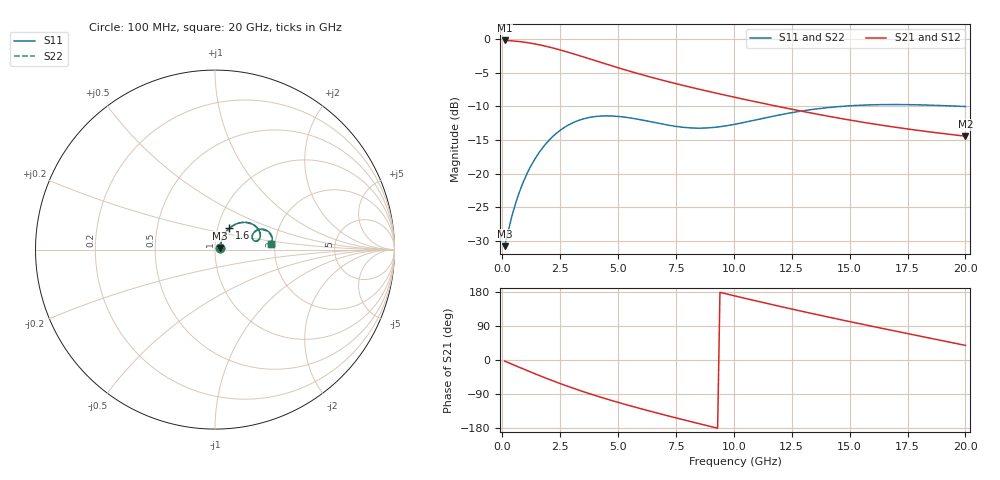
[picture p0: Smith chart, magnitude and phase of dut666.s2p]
! Touchstone file exported from HFSS 2024.1.0
!  File:  C:/UserFiles/LocalFiles/RDL_TSV_Batchsim/temp_RDL_TSV_666_1779812955.aedt
!  Generated:  12:48:54 AM May 27, 2026
!  Design:  RDL_TSV
!  Project:  temp_RDL_TSV_666_1779812955
!  Setup:  Setup1
!  Solution:  Sweep
! Variables:
!  dtsv = 7.15um
!  hbump = 3um
!  htsv = 94.8um
!  ldown = 695.02um
!  lrdl = 675.41um
!  p = 40
!  p1 = 53.31um
!  rhole = 10um
!  subl = 4786.7um
!  t = 450um
!  tdown = 3.75um
!  trdl = 4.57um
!  viad = 10um
!  wdown = 10.54um
!  wrdl = 27.84um
!  xbump = 18um
# GHz S MA R 50.000000
! Terminal data exported
! Port[1] = TM1_1_T1
! Port[2] = TM1_4_T1
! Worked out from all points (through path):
!   200 points, 100 MHz to 20 GHz, reference 50 ohm
!   highest |S21| = -0.24 dB at 100 MHz (marker M1); lowest = -14.4 dB at 20 GHz (marker M2)
!   group delay of S21, straight-line fit = 42.5 ps
!   lowest |S11| = -30.8 dB at 100 MHz (marker M3), VSWR 1.06, Z = 52.8 + j1 ohm
!   |S11| at or under -10 dB: start of sweep to 14.74 GHz; 19.69 GHz to end of sweep
!   |S22| runs from -30.8 to -9.8 dB; largest |S21 - S12| = 9.3e-15
!   S11 on the Smith chart (normalised r, x): 100 MHz: 1.06, +0.02; 1.6 GHz: 1.14, +0.28; 20 GHz: 1.90, +0.14
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0.1  0.02894 19.1  0.9726 -2.7  0.9726 -2.7  0.02894 19.1
! Gamma 0 0 0 0
! Port Impedance 50 0 50 0
0.5  0.05454 50.6  0.9632 -13.2  0.9632 -13.2  0.05455 50.6
0.8  0.07785 56.9  0.9517 -20.9  0.9517 -20.9  0.07785 56.8
1.2  0.1109 58.2  0.9303 -31.1  0.9303 -31.1  0.1108 58.1
1.6  0.144 56.0  0.903 -41.0  0.903 -41.0  0.1439 55.9
2  0.1753 52.1  0.8711 -50.6  0.8711 -50.6  0.1751 52.0
2.5  0.2096 46.0  0.827 -62.2  0.827 -62.2  0.2093 45.9
3  0.2364 39.5  0.7808 -73.1  0.7808 -73.1  0.236 39.4
3.5  0.2547 33.2  0.7347 -83.5  0.7347 -83.5  0.2542 33.0
4.2  0.2669 25.2  0.6732 -97.2  0.6732 -97.2  0.2664 25.1
5  0.2656 18.1  0.6103 -111.8  0.6103 -111.8  0.2652 18.0
5.9  0.2524 13.1  0.5497 -127.2  0.5497 -127.2  0.2521 13.0
6.8  0.2352 11.6  0.4989 -141.8  0.4989 -141.8  0.235 11.4
7.5  0.224 12.7  0.4649 -152.8  0.4649 -152.8  0.2239 12.5
8.3  0.2176 15.8  0.4306 -165.0  0.4306 -165.0  0.2175 15.5
10.1  0.2332 23.3  0.3665 168.3  0.3665 168.3  0.2327 22.9
11.7  0.2667 24.8  0.3203 145.5  0.3203 145.5  0.2655 24.4
13.4  0.2994 21.8  0.2802 122.3  0.2802 122.3  0.2978 21.4
14.9  0.3176 17.6  0.2515 102.6  0.2515 102.6  0.3156 17.2
16.7  0.3254 12.5  0.2243 79.7  0.2243 79.7  0.3231 12.2
18.4  0.3223 8.7  0.2045 58.5  0.2045 58.5  0.3199 8.3
20  0.3145 6.2  0.1896 38.6  0.1896 38.6  0.312 5.9
